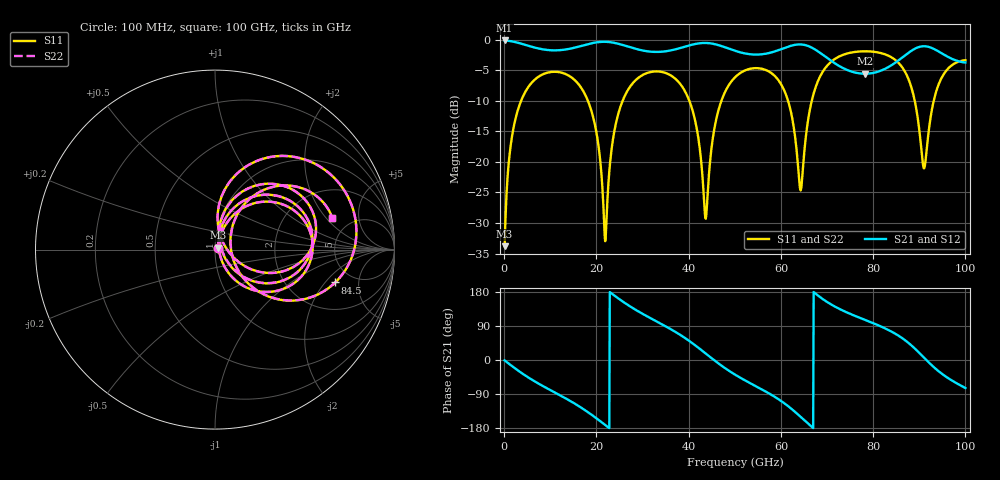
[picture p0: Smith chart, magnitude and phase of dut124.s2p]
! Touchstone file exported from HFSS 2026.1.0
!  File:  C:/ffzhzh/LocalFiles/Ansys_Project_Files/temp_train_TSV_RDL_124_1783459393_34316.aedt
!  Generated:  05:34:22 AM Jul  8, 2026
!  Design:  TSV_RDL
!  Project:  temp_train_TSV_RDL_124_1783459393_34316
! Variables:
!  h_bsmrdl = 4.8um
!  h_ox = 20um
!  h_rdl = 5um
!  h_sub = 88.81um
!  h_tmrdl = 2.68um
!  h_tsv = 88.81um
!  h_via = 3um
!  l_bsmrdl = 213.42um
!  l_sub = 2363.46um
!  l_tmrdl = 312.05um
!  m_sub = 200um
!  pitch = 44.96um
!  r_tsv = 8.87um
!  s_tmrdl = 10um
!  w_bsmrdl = 11.24um
!  w_sub = 500um
!  w_tmrdl = 13.76um
!  x_tsv_center1 = 318.93um
!  x_tsv_center2 = 543.59um
!  x_tsv_center3 = 869.4um
!  x_tsv_center4 = 1094.06um
!  x_tsv_center5 = 1419.87um
!  x_tsv_center6 = 1644.53um
# GHz S MA R 50.000000
! Terminal data exported
! Port[1] = TM_RDL1_1_T1
! Port[2] = TM_RDL5_1_T1
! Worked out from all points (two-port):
!   1000 points, 100 MHz to 100 GHz, reference 50 ohm
!   highest |S21| = -0.16 dB at 100 MHz (marker M1); lowest = -5.6 dB at 78.2 GHz (marker M2)
!   |S21| within 3 dB of the highest: start of sweep to 70.28 GHz; 85.94 GHz to 97.08 GHz (11.14 GHz wide, 12.2 % of centre)
!   lowest |S11| = -33.8 dB at 100 MHz (marker M3), VSWR 1.04, Z = 51.8 + j1.02 ohm
!   |S11| at or under -10 dB: 18.15 GHz to 25.7 GHz (7.553 GHz wide, 34.5 % of centre); 40.14 GHz to 47.12 GHz (6.977 GHz wide, 16 % of centre); 61.54 GHz to 66.7 GHz (5.163 GHz wide, 8.05 % of centre) (the widest 3 of 5)
!   |S22| runs from -33.8 to -1.9 dB; largest |S21 - S12| = 5e-14
!   S11 on the Smith chart (normalised r, x): 100 MHz: 1.04, +0.02; 84.5 GHz: 3.63, -2.57; 100 GHz: 3.59, +2.34
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0.1  0.02044 28.8  0.9822 -1.0  0.9822 -1.0  0.02044 28.8
! Gamma 0 0 0 0
! Port Impedance 50 0 50 0
1.7  0.1611 66.2  0.9654 -16.1  0.9654 -16.1  0.1611 66.2
4.6  0.3742 45.4  0.9036 -41.1  0.9036 -41.1  0.3742 45.4
16.8  0.3978 -36.0  0.888 -126.5  0.888 -126.5  0.3978 -36.0
19.9  0.1825 -57.9  0.9462 -152.9  0.9462 -152.9  0.1825 -58.0
21.9  0.02245 2.0  0.9578 -171.4  0.9578 -171.4  0.02217 2.0
25.4  0.2955 61.7  0.9089 156.9  0.9089 156.9  0.2954 61.8
33.4  0.5478 8.6  0.7917 99.5  0.7917 99.5  0.5478 8.7
40.3  0.3047 -37.1  0.8979 48.8  0.8979 48.8  0.3048 -36.7
43.7  0.03426 18.4  0.9369 17.1  0.9369 17.1  0.0362 18.4
46.1  0.2331 75.3  0.9076 -5.8  0.9076 -5.8  0.2334 74.9
50.1  0.4927 48.0  0.8079 -38.9  0.8079 -38.9  0.4929 47.8
59.8  0.4456 -12.6  0.8267 -106.1  0.8267 -106.1  0.4457 -12.7
64.3  0.05839 31.2  0.9113 -150.3  0.9113 -150.3  0.05793 31.2
66.7  0.3162 82.0  0.8578 -176.5  0.8578 -176.5  0.3161 82.1
78.2  0.8013 15.5  0.525 106.0  0.525 106.0  0.8014 15.6
83.4  0.7345 -9.1  0.5982 78.6  0.5982 78.6  0.7346 -9.0
84.5  0.6944 -15.3  0.6351 71.4  0.6351 71.4  0.6945 -15.2
88.3  0.4044 -40.8  0.8091 38.5  0.8091 38.5  0.4047 -40.6
91  0.08839 3.7  0.881 6.6  0.881 6.6  0.08954 3.7
94.3  0.4387 50.1  0.7938 -30.7  0.7938 -30.7  0.4388 50.0
100  0.6772 15.1  0.6488 -74.0  0.6488 -74.0  0.6773 15.1
